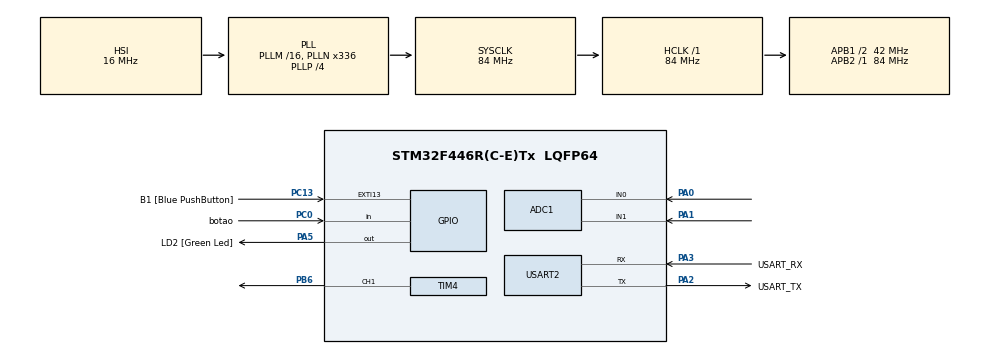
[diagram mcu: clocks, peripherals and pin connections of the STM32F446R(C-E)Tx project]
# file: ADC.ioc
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ADC1.Channel-0\#ChannelRegularConversion=ADC_CHANNEL_0
ADC1.Channel-1\#ChannelRegularConversion=ADC_CHANNEL_1
ADC1.ContinuousConvMode=ENABLE
ADC1.DMAContinuousRequests=ENABLE
ADC1.ExternalTrigConv=ADC_EXTERNALTRIGCONV_T3_TRGO
ADC1.NbrOfConversion=2
ADC1.NbrOfConversionFlag=1
ADC1.Rank-0\#ChannelRegularConversion=1
ADC1.Rank-1\#ChannelRegularConversion=2
ADC1.SamplingTime-0\#ChannelRegularConversion=ADC_SAMPLETIME_3CYCLES
ADC1.SamplingTime-1\#ChannelRegularConversion=ADC_SAMPLETIME_3CYCLES
ADC1.ScanConvMode=ENABLE
ADC1.master=1
Dma.ADC1.0.Direction=DMA_PERIPH_TO_MEMORY
Dma.ADC1.0.FIFOMode=DMA_FIFOMODE_DISABLE
Dma.ADC1.0.Instance=DMA2_Stream0
Dma.ADC1.0.MemDataAlignment=DMA_MDATAALIGN_HALFWORD
Dma.ADC1.0.MemInc=DMA_MINC_ENABLE
Dma.ADC1.0.Mode=DMA_CIRCULAR
Dma.ADC1.0.PeriphDataAlignment=DMA_PDATAALIGN_HALFWORD
Dma.ADC1.0.PeriphInc=DMA_PINC_DISABLE
Dma.ADC1.0.Priority=DMA_PRIORITY_VERY_HIGH
Dma.Request0=ADC1
Mcu.Family=STM32F4
Mcu.Name=STM32F446R(C-E)Tx
Mcu.Package=LQFP64
NVIC.ADC_IRQn=true\:0\:0\:false\:false\:true\:true\:true\:true
NVIC.DMA2_Stream0_IRQn=true\:0\:0\:false\:false\:true\:false\:true\:true
NVIC.PriorityGroup=NVIC_PRIORITYGROUP_0
NVIC.TIM3_IRQn=true\:0\:0\:false\:false\:true\:true\:true\:true
NVIC.TIM4_IRQn=true\:0\:0\:false\:false\:true\:true\:true\:true
NVIC.USART2_IRQn=true\:0\:0\:false\:false\:true\:true\:true\:true
PA0-WKUP.Signal=ADCx_IN0
PA1.Signal=ADCx_IN1
PA13.GPIO_Label=TMS
PA13.Mode=Serial_Wire
PA13.Signal=SYS_JTMS-SWDIO
PA14.GPIO_Label=TCK
PA14.Mode=Serial_Wire
PA14.Signal=SYS_JTCK-SWCLK
PA2.GPIO_Label=USART_TX
PA2.Mode=Asynchronous
PA2.Signal=USART2_TX
PA3.GPIO_Label=USART_RX
PA3.Mode=Asynchronous
PA3.Signal=USART2_RX
PA5.GPIO_Label=LD2 [Green Led]
PA5.Signal=GPIO_Output
PB3.GPIO_Label=SWO
PB3.Signal=SYS_JTDO-SWO
PB6.Signal=S_TIM4_CH1
PC0.GPIO_Label=botao
PC0.GPIO_PuPd=GPIO_PULLDOWN
PC0.Signal=GPIO_Input
PC13.GPIO_Label=B1 [Blue PushButton]
PC13.GPIO_ModeDefaultEXTI=GPIO_MODE_IT_FALLING
PC13.Signal=GPXTI13
PC14-OSC32_IN.Mode=LSE-External-Oscillator
PC14-OSC32_IN.Signal=RCC_OSC32_IN
PC15-OSC32_OUT.Mode=LSE-External-Oscillator
PC15-OSC32_OUT.Signal=RCC_OSC32_OUT
PH0-OSC_IN.Mode=HSE-External-Oscillator
PH0-OSC_IN.Signal=RCC_OSC_IN
PH1-OSC_OUT.Mode=HSE-External-Oscillator
PH1-OSC_OUT.Signal=RCC_OSC_OUT
ProjectManager.HeapSize=0x200
ProjectManager.StackSize=0x400
ProjectManager.TargetToolchain=STM32CubeIDE
RCC.48MHZClocksFreq_Value=84000000
RCC.AHBFreq_Value=84000000
RCC.APB1CLKDivider=RCC_HCLK_DIV2
RCC.APB1Freq_Value=42000000
RCC.APB1TimFreq_Value=84000000
RCC.APB2Freq_Value=84000000
RCC.APB2TimFreq_Value=84000000
RCC.CortexFreq_Value=84000000
RCC.FLatency-AdvancedSettings=FLASH_LATENCY_2
RCC.HCLKFreq_Value=84000000
RCC.HSE_VALUE=8000000
RCC.HSI_VALUE=16000000
RCC.PLLN=336
RCC.PLLP=RCC_PLLP_DIV4
RCC.SYSCLKFreq_VALUE=84000000
RCC.SYSCLKSource=RCC_SYSCLKSOURCE_PLLCLK
RCC.USBFreq_Value=168000000
RCC.VCOOutputFreq_Value=336000000
SH.ADCx_IN0.0=ADC1_IN0,IN0
SH.ADCx_IN1.0=ADC1_IN1,IN1
SH.S_TIM4_CH1.0=TIM4_CH1,PWM Generation1 CH1
TIM3.Period=999
TIM3.Prescaler=83
TIM3.TIM_MasterOutputTrigger=TIM_TRGO_UPDATE
TIM4.AutoReloadPreload=TIM_AUTORELOAD_PRELOAD_ENABLE
TIM4.Channel-PWM\ Generation1\ CH1=TIM_CHANNEL_1
TIM4.Period=1999
TIM4.Prescaler=839
TIM4.Pulse-PWM\ Generation1\ CH1=100
USART2.Parity=PARITY_EVEN
USART2.VirtualMode=VM_ASYNC
USART2.WordLength=WORDLENGTH_9B
VP_TIM3_VS_ClockSourceINT.Mode=Internal
VP_TIM4_VS_ClockSourceINT.Mode=Internal
board=NUCLEO-F446RE

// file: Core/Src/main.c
/* USER CODE BEGIN Header */
/**
  ******************************************************************************
  * @file           : main.c
  * @brief          : Main program body
  ******************************************************************************
  * @attention
  *
  * Copyright (c) 2023 STMicroelectronics.
  * All rights reserved.
  *
  * This software is licensed under terms that can be found in the LICENSE file
  * in the root directory of this software component.
  * If no LICENSE file comes with this software, it is provided AS-IS.
  *
  ******************************************************************************
  */
/* USER CODE END Header */
#include "main.h"

/* USER CODE BEGIN Includes */
#include <string.h>
#include <stdio.h>
/* USER CODE END Includes */

/* USER CODE BEGIN PD */
#define ESCALA 3.3/4096 //escala para conversão em valores de tensão reais lidos no ADC
/* USER CODE END PD */

ADC_HandleTypeDef hadc1;
DMA_HandleTypeDef hdma_adc1;

TIM_HandleTypeDef htim3;
TIM_HandleTypeDef htim4;

UART_HandleTypeDef huart2;

/* USER CODE BEGIN PV */
volatile uint16_t adc_buf[2]; //variáveis lidas no ADC
float adc_read[2]; //variáveis lidas no ADC convertidas para os valores reais
uint8_t estado[2]; //variável para debounce do botão

/* USER CODE END PV */

void SystemClock_Config(void);
static void MX_GPIO_Init(void);
static void MX_DMA_Init(void);
static void MX_USART2_UART_Init(void);
static void MX_ADC1_Init(void);
static void MX_TIM3_Init(void);
static void MX_TIM4_Init(void);
/* USER CODE BEGIN PFP */
void DMATransferComplete(DMA_HandleTypeDef *hdma);
/* USER CODE END PFP */

int main(void)
{

  /* MCU Configuration--------------------------------------------------------*/

  /* Reset of all peripherals, Initializes the Flash interface and the Systick. */
  HAL_Init();

  /* Configure the system clock */
  SystemClock_Config();

  /* Initialize all configured peripherals */
  MX_GPIO_Init();
  MX_DMA_Init();
  MX_USART2_UART_Init();
  MX_ADC1_Init();
  MX_TIM3_Init();
  MX_TIM4_Init();
  /* USER CODE BEGIN 2 */
  HAL_TIM_Base_Start_IT(&htim3); //start timer 3 com interrupção
  HAL_ADC_Start_DMA(&hadc1, (uint32_t*)adc_buf, 2); //start do ADC com DMA
  /* USER CODE END 2 */

  /* Infinite loop */
  while (1)
  {

  }
}

void SystemClock_Config(void)
{
  RCC_OscInitTypeDef RCC_OscInitStruct = {0};
  RCC_ClkInitTypeDef RCC_ClkInitStruct = {0};

  /** Configure the main internal regulator output voltage
  */
  __HAL_RCC_PWR_CLK_ENABLE();
  __HAL_PWR_VOLTAGESCALING_CONFIG(PWR_REGULATOR_VOLTAGE_SCALE3);

  /** Initializes the RCC Oscillators according to the specified parameters
  * in the RCC_OscInitTypeDef structure.
  */
  RCC_OscInitStruct.OscillatorType = RCC_OSCILLATORTYPE_HSI;
  RCC_OscInitStruct.HSIState = RCC_HSI_ON;
  RCC_OscInitStruct.HSICalibrationValue = RCC_HSICALIBRATION_DEFAULT;
  RCC_OscInitStruct.PLL.PLLState = RCC_PLL_ON;
  RCC_OscInitStruct.PLL.PLLSource = RCC_PLLSOURCE_HSI;
  RCC_OscInitStruct.PLL.PLLM = 16;
  RCC_OscInitStruct.PLL.PLLN = 336;
  RCC_OscInitStruct.PLL.PLLP = RCC_PLLP_DIV4;
  RCC_OscInitStruct.PLL.PLLQ = 2;
  RCC_OscInitStruct.PLL.PLLR = 2;
  if (HAL_RCC_OscConfig(&RCC_OscInitStruct) != HAL_OK)
  {
    Error_Handler();
  }

  /** Initializes the CPU, AHB and APB buses clocks
  */
  RCC_ClkInitStruct.ClockType = RCC_CLOCKTYPE_HCLK|RCC_CLOCKTYPE_SYSCLK
                              |RCC_CLOCKTYPE_PCLK1|RCC_CLOCKTYPE_PCLK2;
  RCC_ClkInitStruct.SYSCLKSource = RCC_SYSCLKSOURCE_PLLCLK;
  RCC_ClkInitStruct.AHBCLKDivider = RCC_SYSCLK_DIV1;
  RCC_ClkInitStruct.APB1CLKDivider = RCC_HCLK_DIV2;
  RCC_ClkInitStruct.APB2CLKDivider = RCC_HCLK_DIV1;

  if (HAL_RCC_ClockConfig(&RCC_ClkInitStruct, FLASH_LATENCY_2) != HAL_OK)
  {
    Error_Handler();
  }
}

static void MX_ADC1_Init(void)
{

  ADC_ChannelConfTypeDef sConfig = {0};

  /** Configure the global features of the ADC (Clock, Resolution, Data Alignment and number of conversion)
  */
  hadc1.Instance = ADC1;
  hadc1.Init.ClockPrescaler = ADC_CLOCK_SYNC_PCLK_DIV4;
  hadc1.Init.Resolution = ADC_RESOLUTION_12B;
  hadc1.Init.ScanConvMode = ENABLE;
  hadc1.Init.ContinuousConvMode = ENABLE;
  hadc1.Init.DiscontinuousConvMode = DISABLE;
  hadc1.Init.ExternalTrigConvEdge = ADC_EXTERNALTRIGCONVEDGE_RISING;
  hadc1.Init.ExternalTrigConv = ADC_EXTERNALTRIGCONV_T3_TRGO;
  hadc1.Init.DataAlign = ADC_DATAALIGN_RIGHT;
  hadc1.Init.NbrOfConversion = 2;
  hadc1.Init.DMAContinuousRequests = ENABLE;
  hadc1.Init.EOCSelection = ADC_EOC_SINGLE_CONV;
  if (HAL_ADC_Init(&hadc1) != HAL_OK)
  {
    Error_Handler();
  }

  /** Configure for the selected ADC regular channel its corresponding rank in the sequencer and its sample time.
  */
  sConfig.Channel = ADC_CHANNEL_0;
  sConfig.Rank = 1;
  sConfig.SamplingTime = ADC_SAMPLETIME_3CYCLES;
  if (HAL_ADC_ConfigChannel(&hadc1, &sConfig) != HAL_OK)
  {
    Error_Handler();
  }

  /** Configure for the selected ADC regular channel its corresponding rank in the sequencer and its sample time.
  */
  sConfig.Channel = ADC_CHANNEL_1;
  sConfig.Rank = 2;
  if (HAL_ADC_ConfigChannel(&hadc1, &sConfig) != HAL_OK)
  {
    Error_Handler();
  }

}

static void MX_TIM3_Init(void)
{

  TIM_ClockConfigTypeDef sClockSourceConfig = {0};
  TIM_MasterConfigTypeDef sMasterConfig = {0};

  htim3.Instance = TIM3;
  htim3.Init.Prescaler = 83;
  htim3.Init.CounterMode = TIM_COUNTERMODE_UP;
  htim3.Init.Period = 999;
  htim3.Init.ClockDivision = TIM_CLOCKDIVISION_DIV1;
  htim3.Init.AutoReloadPreload = TIM_AUTORELOAD_PRELOAD_DISABLE;
  if (HAL_TIM_Base_Init(&htim3) != HAL_OK)
  {
    Error_Handler();
  }
  sClockSourceConfig.ClockSource = TIM_CLOCKSOURCE_INTERNAL;
  if (HAL_TIM_ConfigClockSource(&htim3, &sClockSourceConfig) != HAL_OK)
  {
    Error_Handler();
  }
  sMasterConfig.MasterOutputTrigger = TIM_TRGO_UPDATE;
  sMasterConfig.MasterSlaveMode = TIM_MASTERSLAVEMODE_DISABLE;
  if (HAL_TIMEx_MasterConfigSynchronization(&htim3, &sMasterConfig) != HAL_OK)
  {
    Error_Handler();
  }

}

static void MX_TIM4_Init(void)
{

  TIM_ClockConfigTypeDef sClockSourceConfig = {0};
  TIM_MasterConfigTypeDef sMasterConfig = {0};
  TIM_OC_InitTypeDef sConfigOC = {0};

  htim4.Instance = TIM4;
  htim4.Init.Prescaler = 839;
  htim4.Init.CounterMode = TIM_COUNTERMODE_UP;
  htim4.Init.Period = 1999;
  htim4.Init.ClockDivision = TIM_CLOCKDIVISION_DIV1;
  htim4.Init.AutoReloadPreload = TIM_AUTORELOAD_PRELOAD_ENABLE;
  if (HAL_TIM_Base_Init(&htim4) != HAL_OK)
  {
    Error_Handler();
  }
  sClockSourceConfig.ClockSource = TIM_CLOCKSOURCE_INTERNAL;
  if (HAL_TIM_ConfigClockSource(&htim4, &sClockSourceConfig) != HAL_OK)
  {
    Error_Handler();
  }
  if (HAL_TIM_PWM_Init(&htim4) != HAL_OK)
  {
    Error_Handler();
  }
  sMasterConfig.MasterOutputTrigger = TIM_TRGO_RESET;
  sMasterConfig.MasterSlaveMode = TIM_MASTERSLAVEMODE_DISABLE;
  if (HAL_TIMEx_MasterConfigSynchronization(&htim4, &sMasterConfig) != HAL_OK)
  {
    Error_Handler();
  }
  sConfigOC.OCMode = TIM_OCMODE_PWM1;
  sConfigOC.Pulse = 100;
  sConfigOC.OCPolarity = TIM_OCPOLARITY_HIGH;
  sConfigOC.OCFastMode = TIM_OCFAST_DISABLE;
  if (HAL_TIM_PWM_ConfigChannel(&htim4, &sConfigOC, TIM_CHANNEL_1) != HAL_OK)
  {
    Error_Handler();
  }
  HAL_TIM_MspPostInit(&htim4);

}

static void MX_USART2_UART_Init(void)
{

  huart2.Instance = USART2;
  huart2.Init.BaudRate = 115200;
  huart2.Init.WordLength = UART_WORDLENGTH_9B;
  huart2.Init.StopBits = UART_STOPBITS_1;
  huart2.Init.Parity = UART_PARITY_EVEN;
  huart2.Init.Mode = UART_MODE_TX_RX;
  huart2.Init.HwFlowCtl = UART_HWCONTROL_NONE;
  huart2.Init.OverSampling = UART_OVERSAMPLING_16;
  if (HAL_UART_Init(&huart2) != HAL_OK)
  {
    Error_Handler();
  }

}

static void MX_DMA_Init(void)
{

  /* DMA controller clock enable */
  __HAL_RCC_DMA2_CLK_ENABLE();

  /* DMA interrupt init */
  /* DMA2_Stream0_IRQn interrupt configuration */
  HAL_NVIC_SetPriority(DMA2_Stream0_IRQn, 0, 0);
  HAL_NVIC_EnableIRQ(DMA2_Stream0_IRQn);

}

static void MX_GPIO_Init(void)
{
  GPIO_InitTypeDef GPIO_InitStruct = {0};

  /* GPIO Ports Clock Enable */
  __HAL_RCC_GPIOC_CLK_ENABLE();
  __HAL_RCC_GPIOH_CLK_ENABLE();
  __HAL_RCC_GPIOA_CLK_ENABLE();
  __HAL_RCC_GPIOB_CLK_ENABLE();

  /*Configure GPIO pin Output Level */
  HAL_GPIO_WritePin(LD2_GPIO_Port, LD2_Pin, GPIO_PIN_RESET);

  /*Configure GPIO pin : B1_Pin */
  GPIO_InitStruct.Pin = B1_Pin;
  GPIO_InitStruct.Mode = GPIO_MODE_IT_FALLING;
  GPIO_InitStruct.Pull = GPIO_NOPULL;
  HAL_GPIO_Init(B1_GPIO_Port, &GPIO_InitStruct);

  /*Configure GPIO pin : botao_Pin */
  GPIO_InitStruct.Pin = botao_Pin;
  GPIO_InitStruct.Mode = GPIO_MODE_INPUT;
  GPIO_InitStruct.Pull = GPIO_PULLDOWN;
  HAL_GPIO_Init(botao_GPIO_Port, &GPIO_InitStruct);

  /*Configure GPIO pin : LD2_Pin */
  GPIO_InitStruct.Pin = LD2_Pin;
  GPIO_InitStruct.Mode = GPIO_MODE_OUTPUT_PP;
  GPIO_InitStruct.Pull = GPIO_NOPULL;
  GPIO_InitStruct.Speed = GPIO_SPEED_FREQ_LOW;
  HAL_GPIO_Init(LD2_GPIO_Port, &GPIO_InitStruct);

}

/* USER CODE BEGIN 4 */
// Called when buffer is completely filled
void HAL_ADC_ConvCpltCallback(ADC_HandleTypeDef* hadc) {
	  	HAL_ADC_Start_DMA(&hadc1, (uint32_t*)adc_buf, (2)); //reinício do ADC só por garantia
	  	adc_read[1] = (adc_buf[0]*ESCALA); //conversão para valores reais
	  	adc_read[0] = (adc_buf[1]*ESCALA); //conversão para valores reais²
	  	HAL_TIM_PWM_Start(&htim4, TIM_CHANNEL_1); //start do pwm para controle do servo motor

	  	if (adc_read[0]<=1.3) //testa se o valor lido no ADC é menor que 1.3 e movimenta o servo em 90º
		{
	  	  __HAL_TIM_SET_COMPARE(&htim4, TIM_CHANNEL_1, 200);
		}
	  	else if (adc_read[0]>=2) //testa se o valor lido no ADC é maior que 2 e movimenta o servo em -90º
	  	{
	  	  __HAL_TIM_SET_COMPARE(&htim4, TIM_CHANNEL_1, 100);
	  	}

	  	else if (adc_read[0]>=1.3&&adc_read[0]<=2) //testa se o valor lido está entre 1.3 e 2 e movimenta o servo á posição inicial
	  	{
		  __HAL_TIM_SET_COMPARE(&htim4, TIM_CHANNEL_1, 150);
	  	}
}

void HAL_TIM_PeriodElapsedCallback(TIM_HandleTypeDef *htim)
{
	if (htim->Instance==TIM3)
	{
		//debounce
		if (estado[0]!=estado[1]) estado[1]=estado[0];
		if (HAL_GPIO_ReadPin(botao_GPIO_Port, botao_Pin) == GPIO_PIN_SET) estado[0]=1;
		else estado[0]=0;

		//teste se o botão foi apertado quando o valor lido no ADC é maior que 3 V
		if (estado[1]==GPIO_PIN_RESET&&estado[0]==GPIO_PIN_SET&&dac_val>=3)
		{
			HAL_GPIO_WritePin(LD2_GPIO_Port, LD2_Pin, GPIO_PIN_SET);
		}
	}
}

/* USER CODE END 4 */

void Error_Handler(void)
{
  __disable_irq();
  while (1)
  {
  }
}
